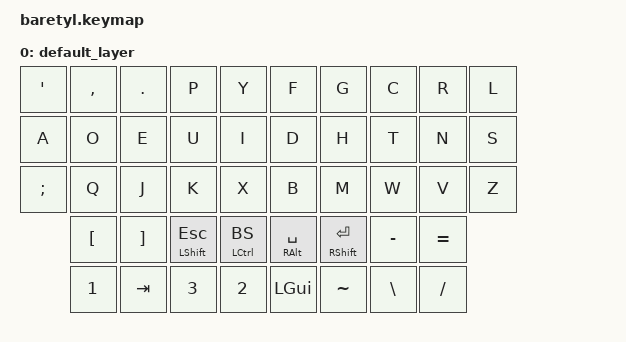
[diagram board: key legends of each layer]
#include <behaviors.dtsi>
#include <dt-bindings/zmk/keys.h>

/ {
    keymap {
        compatible = "zmk,keymap";

        default_layer { // Layer 0
            // -------------------------------------
            // |     Z     |     M     |     K     |
            // |     A     |     B     |     C     |
            // |     D     |     E     |     F     |
            bindings = <
 &kp SQT &kp COMMA &kp DOT &kp P &kp Y &kp F &kp G &kp C &kp R &kp L
 &kp A &kp O &kp E &kp U &kp I &kp D &kp H &kp T &kp N &kp S
 &kp SEMI &kp Q &kp J &kp K &kp X &kp B &kp M &kp W &kp V &kp Z
 &kp LBKT &kp RBKT &mt LSHFT ESC &mt LCTRL BS &mt RALT SPACE &mt RSHFT RET &kp MINUS &kp EQUAL
 &kp N1 &kp TAB &kp N3 &kp N2 &kp LGUI &kp TILDE &kp BSLH &kp FSLH
            >;
        };
    };
 };
